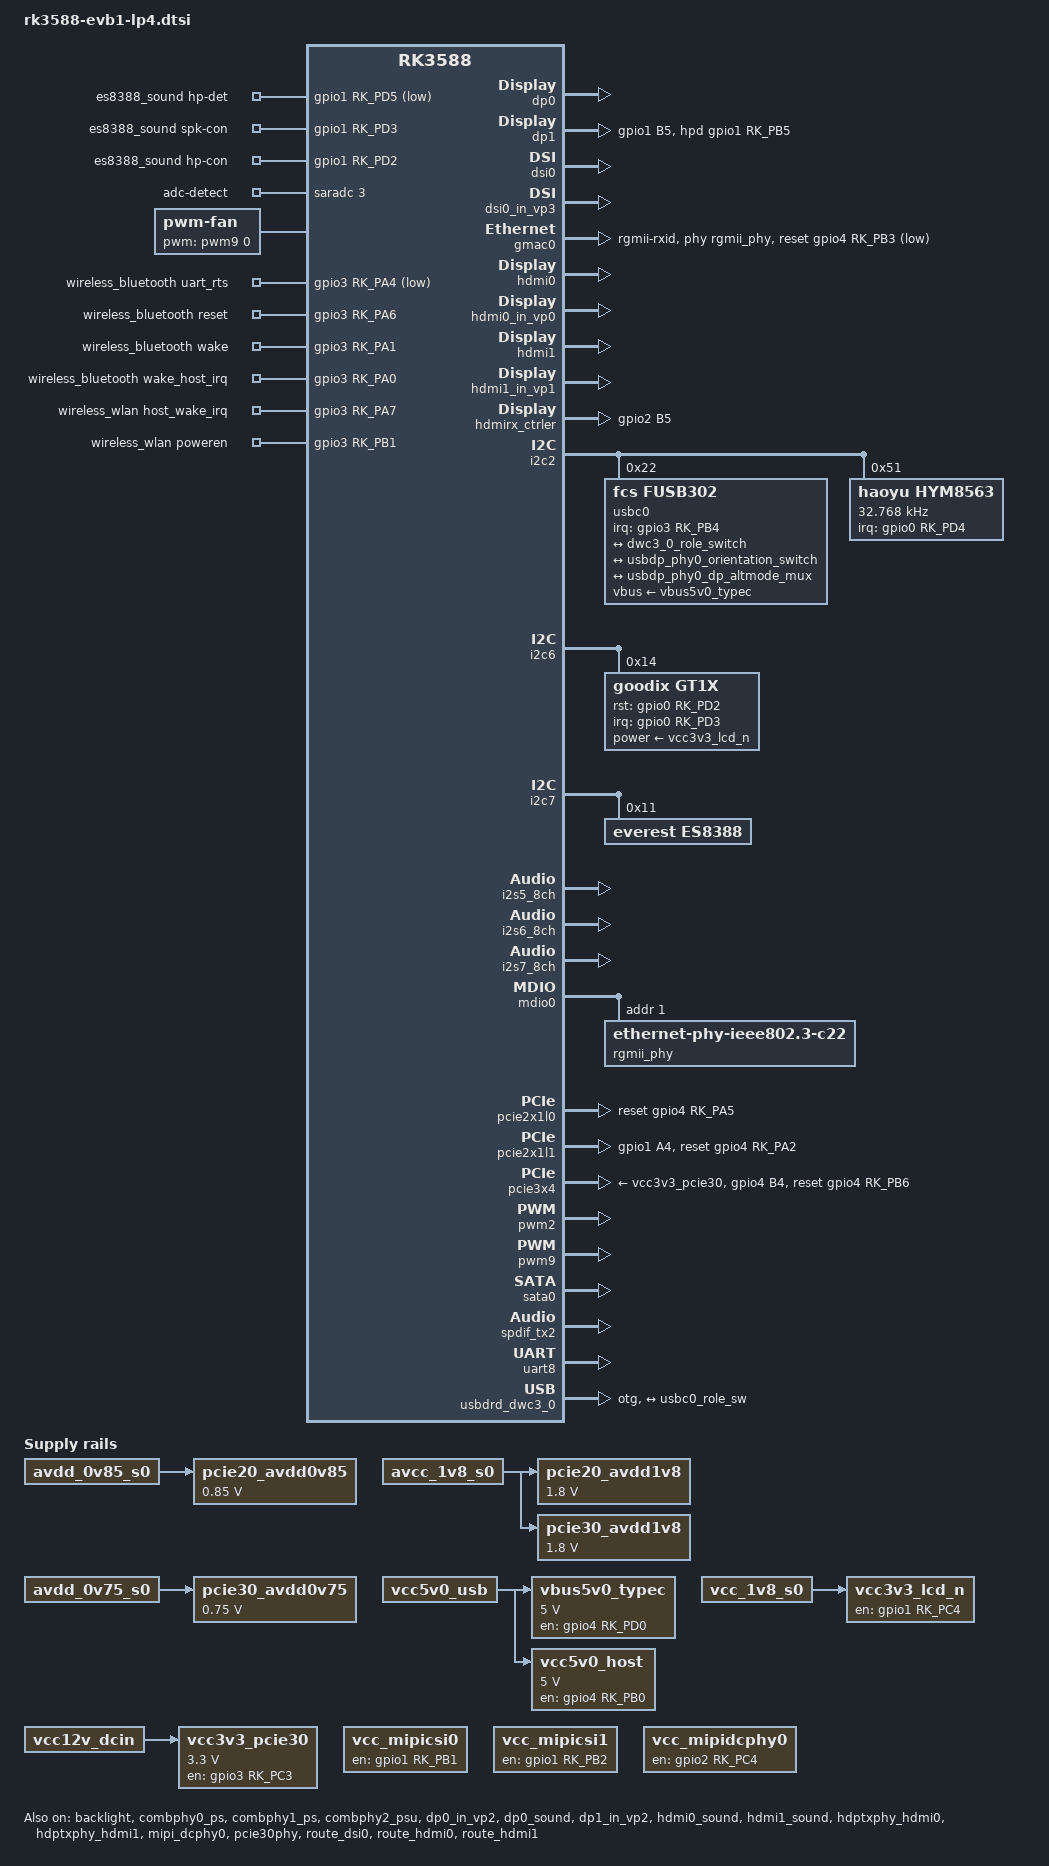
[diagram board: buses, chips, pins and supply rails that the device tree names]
// SPDX-License-Identifier: (GPL-2.0+ OR MIT)
/*
 * Copyright (c) 2021 Rockchip Electronics Co., Ltd.
 *
 */

#include "dt-bindings/usb/pd.h"
#include "rk3588.dtsi"
#include "rk3588-evb.dtsi"
#include "rk3588-rk806-dual.dtsi"

/ {
	/* If hdmirx node is disabled, delete the reserved-memory node here. */
	reserved-memory {
		#address-cells = <2>;
		#size-cells = <2>;
		ranges;

		/* Reserve 128MB memory for hdmirx-controller@fdee0000 */
		cma {
			compatible = "shared-dma-pool";
			reusable;
			reg = <0x0 (256 * 0x100000) 0x0 (128 * 0x100000)>;
			linux,cma-default;
		};
	};

	es8388_sound: es8388-sound {
		status = "okay";
		compatible = "rockchip,multicodecs-card";
		rockchip,card-name = "rockchip-es8388";
		hp-det-gpio = <&gpio1 RK_PD5 GPIO_ACTIVE_LOW>;
		io-channels = <&saradc 3>;
		io-channel-names = "adc-detect";
		keyup-threshold-microvolt = <1800000>;
		poll-interval = <100>;
		spk-con-gpio = <&gpio1 RK_PD3 GPIO_ACTIVE_HIGH>;
		hp-con-gpio = <&gpio1 RK_PD2 GPIO_ACTIVE_HIGH>;
		rockchip,format = "i2s";
		rockchip,mclk-fs = <256>;
		rockchip,cpu = <&i2s0_8ch>;
		rockchip,codec = <&es8388>;
		rockchip,audio-routing =
			"Headphone", "LOUT1",
			"Headphone", "ROUT1",
			"Speaker", "LOUT2",
			"Speaker", "ROUT2",
			"Headphone", "Headphone Power",
			"Headphone", "Headphone Power",
			"Speaker", "Speaker Power",
			"Speaker", "Speaker Power",
			"LINPUT1", "Main Mic",
			"LINPUT2", "Main Mic",
			"RINPUT1", "Headset Mic",
			"RINPUT2", "Headset Mic";
		pinctrl-names = "default";
		pinctrl-0 = <&hp_det>;
		play-pause-key {
			label = "playpause";
			linux,code = <KEY_PLAYPAUSE>;
			press-threshold-microvolt = <2000>;
		};
	};

	fan: pwm-fan {
		compatible = "pwm-fan";
		#cooling-cells = <2>;
		pwms = <&pwm9 0 50000 0>;
		cooling-levels = <0 50 100 150 200 255>;
		rockchip,temp-trips = <
			50000	1
			55000	2
			60000	3
			65000	4
			70000	5
		>;
	};

	hdmiin-sound {
		compatible = "rockchip,hdmi";
		rockchip,mclk-fs = <128>;
		rockchip,format = "i2s";
		rockchip,bitclock-master = <&hdmirx_ctrler>;
		rockchip,frame-master = <&hdmirx_ctrler>;
		rockchip,card-name = "rockchip,hdmiin";
		rockchip,cpu = <&i2s7_8ch>;
		rockchip,codec = <&hdmirx_ctrler 0>;
		rockchip,jack-det;
	};

	pcie20_avdd0v85: pcie20-avdd0v85 {
		compatible = "regulator-fixed";
		regulator-name = "pcie20_avdd0v85";
		regulator-boot-on;
		regulator-always-on;
		regulator-min-microvolt = <850000>;
		regulator-max-microvolt = <850000>;
		vin-supply = <&avdd_0v85_s0>;
	};

	pcie20_avdd1v8: pcie20-avdd1v8 {
		compatible = "regulator-fixed";
		regulator-name = "pcie20_avdd1v8";
		regulator-boot-on;
		regulator-always-on;
		regulator-min-microvolt = <1800000>;
		regulator-max-microvolt = <1800000>;
		vin-supply = <&avcc_1v8_s0>;
	};

	pcie30_avdd0v75: pcie30-avdd0v75 {
		compatible = "regulator-fixed";
		regulator-name = "pcie30_avdd0v75";
		regulator-boot-on;
		regulator-always-on;
		regulator-min-microvolt = <750000>;
		regulator-max-microvolt = <750000>;
		vin-supply = <&avdd_0v75_s0>;
	};

	pcie30_avdd1v8: pcie30-avdd1v8 {
		compatible = "regulator-fixed";
		regulator-name = "pcie30_avdd1v8";
		regulator-boot-on;
		regulator-always-on;
		regulator-min-microvolt = <1800000>;
		regulator-max-microvolt = <1800000>;
		vin-supply = <&avcc_1v8_s0>;
	};

	rk_headset: rk-headset {
		status = "disabled";
		compatible = "rockchip_headset";
		headset_gpio = <&gpio1 RK_PD5 GPIO_ACTIVE_LOW>;
		pinctrl-names = "default";
		pinctrl-0 = <&hp_det>;
		io-channels = <&saradc 3>;
	};

	vbus5v0_typec: vbus5v0-typec {
		compatible = "regulator-fixed";
		regulator-name = "vbus5v0_typec";
		regulator-min-microvolt = <5000000>;
		regulator-max-microvolt = <5000000>;
		enable-active-high;
		gpio = <&gpio4 RK_PD0 GPIO_ACTIVE_HIGH>;
		vin-supply = <&vcc5v0_usb>;
		pinctrl-names = "default";
		pinctrl-0 = <&typec5v_pwren>;
	};

	vcc3v3_lcd_n: vcc3v3-lcd0-n {
		compatible = "regulator-fixed";
		regulator-name = "vcc3v3_lcd0_n";
		regulator-boot-on;
		enable-active-high;
		gpio = <&gpio1 RK_PC4 GPIO_ACTIVE_HIGH>;
		vin-supply = <&vcc_1v8_s0>;
	};

	vcc3v3_pcie30: vcc3v3-pcie30 {
		compatible = "regulator-fixed";
		regulator-name = "vcc3v3_pcie30";
		regulator-min-microvolt = <3300000>;
		regulator-max-microvolt = <3300000>;
		enable-active-high;
		gpios = <&gpio3 RK_PC3 GPIO_ACTIVE_HIGH>;
		startup-delay-us = <5000>;
		vin-supply = <&vcc12v_dcin>;
	};

	vcc5v0_host: vcc5v0-host {
		compatible = "regulator-fixed";
		regulator-name = "vcc5v0_host";
		regulator-boot-on;
		regulator-always-on;
		regulator-min-microvolt = <5000000>;
		regulator-max-microvolt = <5000000>;
		enable-active-high;
		gpio = <&gpio4 RK_PB0 GPIO_ACTIVE_HIGH>;
		vin-supply = <&vcc5v0_usb>;
		pinctrl-names = "default";
		pinctrl-0 = <&vcc5v0_host_en>;
	};

	vcc_mipicsi0: vcc-mipicsi0-regulator {
		compatible = "regulator-fixed";
		gpio = <&gpio1 RK_PB1 GPIO_ACTIVE_HIGH>;
		pinctrl-names = "default";
		pinctrl-0 = <&mipicsi0_pwr>;
		regulator-name = "vcc_mipicsi0";
		enable-active-high;
	};

	vcc_mipicsi1: vcc-mipicsi1-regulator {
		compatible = "regulator-fixed";
		gpio = <&gpio1 RK_PB2 GPIO_ACTIVE_HIGH>;
		pinctrl-names = "default";
		pinctrl-0 = <&mipicsi1_pwr>;
		regulator-name = "vcc_mipicsi1";
		enable-active-high;
	};

	vcc_mipidcphy0: vcc-mipidcphy0-regulator {
		compatible = "regulator-fixed";
		gpio = <&gpio2 RK_PC4 GPIO_ACTIVE_HIGH>;
		pinctrl-names = "default";
		pinctrl-0 = <&mipidcphy0_pwr>;
		regulator-name = "vcc_mipidcphy0";
		enable-active-high;
	};

	wireless_bluetooth: wireless-bluetooth {
		compatible = "bluetooth-platdata";
		clocks = <&hym8563>;
		clock-names = "ext_clock";
		uart_rts_gpios = <&gpio3 RK_PA4 GPIO_ACTIVE_LOW>;
		pinctrl-names = "default", "rts_gpio";
		pinctrl-0 = <&uart8m1_rtsn>, <&bt_reset_gpio>, <&bt_wake_gpio>, <&bt_irq_gpio>;
		pinctrl-1 = <&uart8_gpios>;
		BT,reset_gpio    = <&gpio3 RK_PA6 GPIO_ACTIVE_HIGH>;
		BT,wake_gpio     = <&gpio3 RK_PA1 GPIO_ACTIVE_HIGH>;
		BT,wake_host_irq = <&gpio3 RK_PA0 GPIO_ACTIVE_HIGH>;
		status = "okay";
	};

	wireless_wlan: wireless-wlan {
		compatible = "wlan-platdata";
		wifi_chip_type = "ap6255";
		pinctrl-names = "default";
		pinctrl-0 = <&wifi_host_wake_irq>, <&wifi_poweren_gpio>;
		WIFI,host_wake_irq = <&gpio3 RK_PA7 GPIO_ACTIVE_HIGH>;
		WIFI,poweren_gpio = <&gpio3 RK_PB1 GPIO_ACTIVE_HIGH>;
		status = "okay";
	};
};

&backlight {
	pwms = <&pwm2 0 25000 0>;
	status = "okay";
};

&combphy0_ps {
	status = "okay";
};

&combphy1_ps {
	status = "okay";
};

&combphy2_psu {
	status = "okay";
};

&dp0 {
	status = "okay";
};

&dp0_in_vp2 {
	status = "okay";
};

&dp0_sound{
	status = "okay";
};

&dp1 {
	pinctrl-names = "default";
	pinctrl-0 = <&dp1_hpd>;
	hpd-gpios = <&gpio1 RK_PB5 GPIO_ACTIVE_HIGH>;
	status = "okay";
};

&dp1_in_vp2 {
	status = "okay";
};

/*
 * mipi_dcphy0 needs to be enabled
 * when dsi0 is enabled
 */
&dsi0 {
	status = "okay";
};

&dsi0_in_vp2 {
	status = "disabled";
};

&dsi0_in_vp3 {
	status = "okay";
};

&dsi0_panel {
	power-supply = <&vcc3v3_lcd_n>;
	reset-gpios = <&gpio2 RK_PB4 GPIO_ACTIVE_LOW>;
	pinctrl-names = "default";
	pinctrl-0 = <&lcd_rst_gpio>;
};

/*
 * mipi_dcphy1 needs to be enabled
 * when dsi1 is enabled
 */
&dsi1 {
	status = "disabled";
};

&dsi1_in_vp2 {
	status = "disabled";
};

&dsi1_in_vp3 {
	status = "disabled";
};

&dsi1_panel {
	power-supply = <&vcc3v3_lcd_n>;

	/*
	 * because in hardware, the two screens share the reset pin,
	 * so reset-gpios need only in dsi1 enable and dsi0 disabled
	 * case.
	 */

	//reset-gpios = <&gpio2 RK_PB4 GPIO_ACTIVE_LOW>;
	//pinctrl-names = "default";
	//pinctrl-0 = <&lcd_rst_gpio>;
};

&gmac0 {
	/* Use rgmii-rxid mode to disable rx delay inside Soc */
	phy-mode = "rgmii-rxid";
	clock_in_out = "output";

	snps,reset-gpio = <&gpio4 RK_PB3 GPIO_ACTIVE_LOW>;
	snps,reset-active-low;
	/* Reset time is 20ms, 100ms for rtl8211f */
	snps,reset-delays-us = <0 20000 100000>;

	pinctrl-names = "default";
	pinctrl-0 = <&gmac0_miim
		     &gmac0_tx_bus2
		     &gmac0_rx_bus2
		     &gmac0_rgmii_clk
		     &gmac0_rgmii_bus>;

	tx_delay = <0x43>;
	/* rx_delay = <0x3f>; */

	phy-handle = <&rgmii_phy>;
	status = "okay";
};

&hdmi0 {
	enable-gpios = <&gpio4 RK_PB1 GPIO_ACTIVE_HIGH>;
	status = "okay";
};

&hdmi0_in_vp0 {
	status = "okay";
};

&hdmi0_sound {
	status = "okay";
};

&hdmi1 {
	enable-gpios = <&gpio4 RK_PB2 GPIO_ACTIVE_HIGH>;
	status = "okay";
};

&hdmi1_in_vp1 {
	status = "okay";
};

&hdmi1_sound {
	status = "okay";
};

/* Should work with at least 128MB cma reserved above. */
&hdmirx_ctrler {
	status = "okay";

	#sound-dai-cells = <1>;
	/* Effective level used to trigger HPD: 0-low, 1-high */
	hpd-trigger-level = <1>;
	hdmirx-det-gpios = <&gpio2 RK_PB5 GPIO_ACTIVE_LOW>;
	pinctrl-names = "default";
	pinctrl-0 = <&hdmim1_rx &hdmirx_det>;
};

&hdptxphy_hdmi0 {
	status = "okay";
};

&hdptxphy_hdmi1 {
	status = "okay";
};

&i2c2 {
	status = "okay";

	usbc0: fusb302@22 {
		compatible = "fcs,fusb302";
		reg = <0x22>;
		interrupt-parent = <&gpio3>;
		interrupts = <RK_PB4 IRQ_TYPE_LEVEL_LOW>;
		pinctrl-names = "default";
		pinctrl-0 = <&usbc0_int>;
		vbus-supply = <&vbus5v0_typec>;
		status = "okay";

		ports {
			#address-cells = <1>;
			#size-cells = <0>;

			port@0 {
				reg = <0>;
				usbc0_role_sw: endpoint@0 {
					remote-endpoint = <&dwc3_0_role_switch>;
				};
			};
		};

		usb_con: connector {
			compatible = "usb-c-connector";
			label = "USB-C";
			data-role = "dual";
			power-role = "dual";
			try-power-role = "sink";
			op-sink-microwatt = <1000000>;
			sink-pdos =
				<PDO_FIXED(5000, 1000, PDO_FIXED_USB_COMM)>;
			source-pdos =
				<PDO_FIXED(5000, 3000, PDO_FIXED_USB_COMM)>;

			altmodes {
				#address-cells = <1>;
				#size-cells = <0>;

				altmode@0 {
					reg = <0>;
					svid = <0xff01>;
					vdo = <0xffffffff>;
				};
			};

			ports {
				#address-cells = <1>;
				#size-cells = <0>;

				port@0 {
					reg = <0>;
					usbc0_orien_sw: endpoint {
						remote-endpoint = <&usbdp_phy0_orientation_switch>;
					};
				};

				port@1 {
					reg = <1>;
					dp_altmode_mux: endpoint {
						remote-endpoint = <&usbdp_phy0_dp_altmode_mux>;
					};
				};
			};
		};
	};

	hym8563: hym8563@51 {
		compatible = "haoyu,hym8563";
		reg = <0x51>;
		#clock-cells = <0>;
		clock-frequency = <32768>;
		clock-output-names = "hym8563";
		pinctrl-names = "default";
		pinctrl-0 = <&hym8563_int>;
		interrupt-parent = <&gpio0>;
		interrupts = <RK_PD4 IRQ_TYPE_LEVEL_LOW>;
		wakeup-source;
	};
};

&i2c6 {
	status = "okay";
	gt1x: gt1x@14 {
		compatible = "goodix,gt1x";
		reg = <0x14>;
		pinctrl-names = "default";
		pinctrl-0 = <&touch_gpio>;
		goodix,rst-gpio = <&gpio0 RK_PD2 GPIO_ACTIVE_HIGH>;
		goodix,irq-gpio = <&gpio0 RK_PD3 IRQ_TYPE_LEVEL_LOW>;
		power-supply = <&vcc3v3_lcd_n>;
	};
};

&i2c7 {
	status = "okay";
	es8388: es8388@11 {
		status = "okay";
		#sound-dai-cells = <0>;
		compatible = "everest,es8388", "everest,es8323";
		reg = <0x11>;
		clocks = <&mclkout_i2s0>;
		clock-names = "mclk";
		assigned-clocks = <&mclkout_i2s0>;
		assigned-clock-rates = <12288000>;
		pinctrl-names = "default";
		pinctrl-0 = <&i2s0_mclk>;
	};
};

&i2s5_8ch {
	status = "okay";
};

&i2s6_8ch {
	status = "okay";
};

&i2s7_8ch {
	status = "okay";
};

&mdio0 {
	rgmii_phy: phy@1 {
		compatible = "ethernet-phy-ieee802.3-c22";
		reg = <0x1>;
	};
};

&mipi_dcphy0 {
	status = "okay";
};

&mipi_dcphy1 {
	status = "disabled";
};

&pcie2x1l0 {
	reset-gpios = <&gpio4 RK_PA5 GPIO_ACTIVE_HIGH>;
	rockchip,skip-scan-in-resume;
	status = "okay";
};

&pcie2x1l1 {
	reset-gpios = <&gpio4 RK_PA2 GPIO_ACTIVE_HIGH>;
	pinctrl-names = "default";
	pinctrl-0 = <&rtl8111_isolate>;
	status = "okay";
};

&pcie30phy {
	rockchip,pcie30-phymode = <PHY_MODE_PCIE_AGGREGATION>;
	status = "okay";
};

&pcie3x4 {
	reset-gpios = <&gpio4 RK_PB6 GPIO_ACTIVE_HIGH>;
	vpcie3v3-supply = <&vcc3v3_pcie30>;
	pinctrl-names = "default";
	pinctrl-0 = <&pcie30x4_clkreqn_m1>;
	status = "okay";
};

&pinctrl {
	cam {
		mipicsi0_pwr: mipicsi0-pwr {
			rockchip,pins =
				/* camera power en */
				<1 RK_PB1 RK_FUNC_GPIO &pcfg_pull_none>;
		};
		mipicsi1_pwr: mipicsi1-pwr {
			rockchip,pins =
				/* camera power en */
				<1 RK_PB2 RK_FUNC_GPIO &pcfg_pull_none>;
		};
		mipidcphy0_pwr: mipidcphy0-pwr {
			rockchip,pins =
				/* camera power en */
				<2 RK_PC4 RK_FUNC_GPIO &pcfg_pull_none>;
		};
	};

	dp {
		dp1_hpd: dp1-hpd {
			rockchip,pins = <1 RK_PB5 RK_FUNC_GPIO &pcfg_pull_none>;
		};
	};

	hdmi {
		hdmirx_det: hdmirx-det {
			rockchip,pins = <2 RK_PB5 RK_FUNC_GPIO &pcfg_pull_up>;
		};
	};

	headphone {
		hp_det: hp-det {
			rockchip,pins = <1 RK_PD5 RK_FUNC_GPIO &pcfg_pull_none>;
		};
	};

	hym8563 {
		hym8563_int: hym8563-int {
			rockchip,pins = <0 RK_PD4 RK_FUNC_GPIO &pcfg_pull_up>;
		};
	};

	lcd {
		lcd_rst_gpio: lcd-rst-gpio {
			rockchip,pins = <2 RK_PB4 RK_FUNC_GPIO &pcfg_pull_none>;
		};
	};

	pcie30x4 {
		pcie30x4_clkreqn_m1: pcie30x4-clkreqn-m1 {
			rockchip,pins = <4 RK_PB4 RK_FUNC_GPIO &pcfg_pull_down>;
		};
	};

	rtl8111 {
		rtl8111_isolate: rtl8111-isolate {
			rockchip,pins = <1 RK_PA4 RK_FUNC_GPIO &pcfg_pull_up>;
		};
	};

	touch {
		touch_gpio: touch-gpio {
			rockchip,pins =
				<0 RK_PD2 RK_FUNC_GPIO &pcfg_pull_up>,
				<0 RK_PD3 RK_FUNC_GPIO &pcfg_pull_up>;
		};
	};

	usb {
		vcc5v0_host_en: vcc5v0-host-en {
			rockchip,pins = <4 RK_PB0 RK_FUNC_GPIO &pcfg_pull_none>;
		};
	};

	usb-typec {
		usbc0_int: usbc0-int {
			rockchip,pins = <3 RK_PB4 RK_FUNC_GPIO &pcfg_pull_up>;
		};

		typec5v_pwren: typec5v-pwren {
			rockchip,pins = <4 RK_PD0 RK_FUNC_GPIO &pcfg_pull_none>;
		};
	};

	wireless-bluetooth {
		uart8_gpios: uart8-gpios {
			rockchip,pins = <3 RK_PA4 RK_FUNC_GPIO &pcfg_pull_none>;
		};

		bt_reset_gpio: bt-reset-gpio {
			rockchip,pins = <3 RK_PA6 RK_FUNC_GPIO &pcfg_pull_none>;
		};

		bt_wake_gpio: bt-wake-gpio {
			rockchip,pins = <3 RK_PA1 RK_FUNC_GPIO &pcfg_pull_none>;
		};

		bt_irq_gpio: bt-irq-gpio {
			rockchip,pins = <3 RK_PA0 RK_FUNC_GPIO &pcfg_pull_down>;
		};
	};

	wireless-wlan {
		wifi_host_wake_irq: wifi-host-wake-irq {
			rockchip,pins = <3 RK_PA7 RK_FUNC_GPIO &pcfg_pull_down>;
		};

		wifi_poweren_gpio: wifi-poweren-gpio {
			rockchip,pins = <3 RK_PB1 RK_FUNC_GPIO &pcfg_pull_up>;
		};
	};
};

&pwm2 {
	status = "okay";
};

&pwm9 {
	pinctrl-0 = <&pwm9m1_pins>;
	status = "okay";
};

&route_dsi0 {
	status = "okay";
	connect = <&vp3_out_dsi0>;
};

&route_dsi1 {
	status = "disabled";
	connect = <&vp3_out_dsi1>;
};

&route_hdmi0 {
	status = "okay";
	connect = <&vp0_out_hdmi0>;
};

&route_hdmi1 {
	status = "okay";
	connect = <&vp1_out_hdmi1>;
};

&sata0 {
	status = "okay";
};

&spdif_tx2 {
	status = "okay";
};

&u2phy0_otg {
	rockchip,typec-vbus-det;
};

&u2phy1_otg {
	phy-supply = <&vcc5v0_host>;
};

&u2phy2_host {
	phy-supply = <&vcc5v0_host>;
};

&u2phy3_host {
	phy-supply = <&vcc5v0_host>;
};

&uart8 {
	status = "okay";
	pinctrl-names = "default";
	pinctrl-0 = <&uart8m1_xfer &uart8m1_ctsn>;
};

&usbdp_phy0 {
	orientation-switch;
	svid = <0xff01>;
	sbu1-dc-gpios = <&gpio4 RK_PA6 GPIO_ACTIVE_HIGH>;
	sbu2-dc-gpios = <&gpio4 RK_PA7 GPIO_ACTIVE_HIGH>;

	port {
		#address-cells = <1>;
		#size-cells = <0>;
		usbdp_phy0_orientation_switch: endpoint@0 {
			reg = <0>;
			remote-endpoint = <&usbc0_orien_sw>;
		};

		usbdp_phy0_dp_altmode_mux: endpoint@1 {
			reg = <1>;
			remote-endpoint = <&dp_altmode_mux>;
		};
	};
};

&usbdp_phy1 {
	rockchip,dp-lane-mux = <2 3>;
};

&usbdrd_dwc3_0 {
	dr_mode = "otg";
	usb-role-switch;
	port {
		#address-cells = <1>;
		#size-cells = <0>;
		dwc3_0_role_switch: endpoint@0 {
			reg = <0>;
			remote-endpoint = <&usbc0_role_sw>;
		};
	};
};

&usbhost3_0 {
	status = "disabled";
};

&usbhost_dwc3_0 {
	status = "disabled";
};
